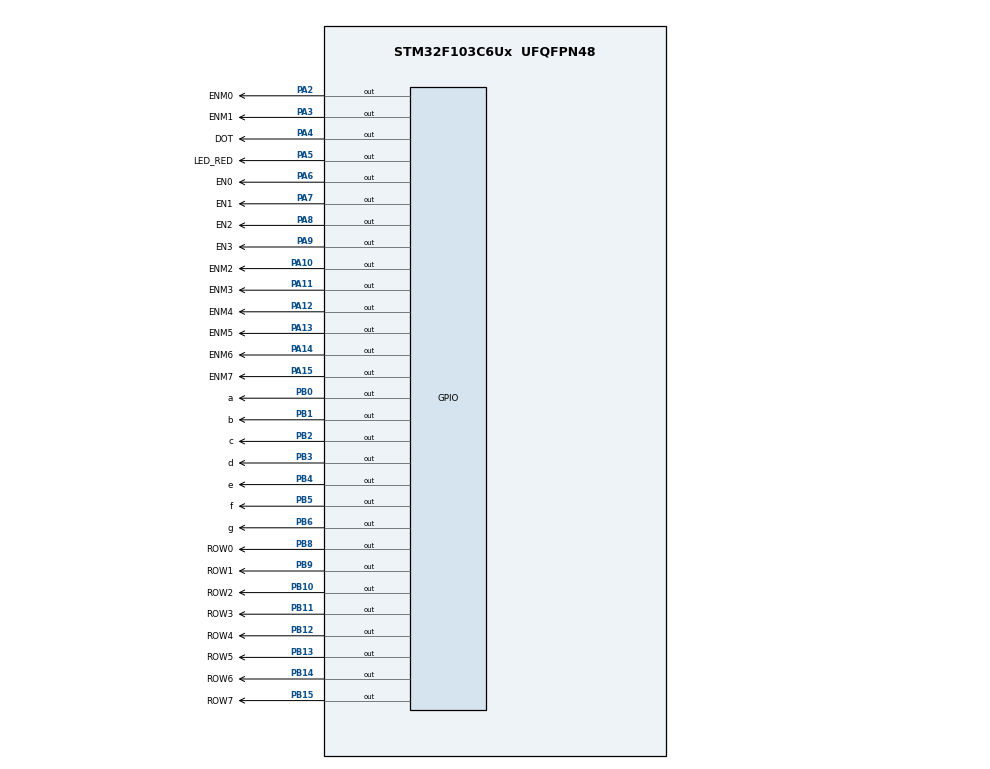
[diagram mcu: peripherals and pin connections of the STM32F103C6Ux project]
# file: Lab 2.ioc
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Mcu.Family=STM32F1
Mcu.Name=STM32F103C6Ux
Mcu.Package=UFQFPN48
NVIC.PriorityGroup=NVIC_PRIORITYGROUP_4
NVIC.TIM2_IRQn=true\:0\:0\:false\:false\:true\:true\:true
PA10.GPIO_Label=ENM2
PA10.Signal=GPIO_Output
PA11.GPIO_Label=ENM3
PA11.Signal=GPIO_Output
PA12.GPIO_Label=ENM4
PA12.Signal=GPIO_Output
PA13.GPIO_Label=ENM5
PA13.Signal=GPIO_Output
PA14.GPIO_Label=ENM6
PA14.Signal=GPIO_Output
PA15.GPIO_Label=ENM7
PA15.Signal=GPIO_Output
PA2.GPIO_Label=ENM0
PA2.Signal=GPIO_Output
PA3.GPIO_Label=ENM1
PA3.Signal=GPIO_Output
PA4.GPIO_Label=DOT
PA4.Signal=GPIO_Output
PA5.GPIO_Label=LED_RED
PA5.Signal=GPIO_Output
PA6.GPIO_Label=EN0
PA6.Signal=GPIO_Output
PA7.GPIO_Label=EN1
PA7.Signal=GPIO_Output
PA8.GPIO_Label=EN2
PA8.Signal=GPIO_Output
PA9.GPIO_Label=EN3
PA9.Signal=GPIO_Output
PB0.GPIO_Label=a
PB0.Signal=GPIO_Output
PB1.GPIO_Label=b
PB1.Signal=GPIO_Output
PB10.GPIO_Label=ROW2
PB10.Signal=GPIO_Output
PB11.GPIO_Label=ROW3
PB11.Signal=GPIO_Output
PB12.GPIO_Label=ROW4
PB12.Signal=GPIO_Output
PB13.GPIO_Label=ROW5
PB13.Signal=GPIO_Output
PB14.GPIO_Label=ROW6
PB14.Signal=GPIO_Output
PB15.GPIO_Label=ROW7
PB15.Signal=GPIO_Output
PB2.GPIO_Label=c
PB2.Signal=GPIO_Output
PB3.GPIO_Label=d
PB3.Signal=GPIO_Output
PB4.GPIO_Label=e
PB4.Signal=GPIO_Output
PB5.GPIO_Label=f
PB5.Signal=GPIO_Output
PB6.GPIO_Label=g
PB6.Signal=GPIO_Output
PB8.GPIO_Label=ROW0
PB8.Signal=GPIO_Output
PB9.GPIO_Label=ROW1
PB9.Signal=GPIO_Output
ProjectManager.HeapSize=0x200
ProjectManager.StackSize=0x400
ProjectManager.TargetToolchain=STM32CubeIDE
RCC.APB1Freq_Value=8000000
RCC.APB2Freq_Value=8000000
TIM2.Period=9
TIM2.Prescaler=7999
VP_SYS_VS_ND.Mode=No_Debug
VP_TIM2_VS_ClockSourceINT.Mode=Internal
board=custom

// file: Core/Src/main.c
/* USER CODE BEGIN Header */
/**
  ******************************************************************************
  * @file           : main.c
  * @brief          : Main program body
  ******************************************************************************
  * @attention
  *
  * <h2><center>&copy; Copyright (c) 2023 STMicroelectronics.
  * All rights reserved.</center></h2>
  *
  * This software component is licensed by ST under BSD 3-Clause license,
  * the "License"; You may not use this file except in compliance with the
  * License. You may obtain a copy of the License at:
  *                        opensource.org/licenses/BSD-3-Clause
  *
  ******************************************************************************
  */
/* USER CODE END Header */
#include "main.h"

TIM_HandleTypeDef htim2;

void SystemClock_Config(void);
static void MX_GPIO_Init(void);
static void MX_TIM2_Init(void);
void display7SEG(int num);
void update7SEG(int index);
void updateClockBuffer(int h, int m);
void updateLEDMatrix (int index );
void change_matrix_buffer();

/* USER CODE BEGIN 0 */
int timer0_counter = 0;
int timer0_flag = 0;
int timer1_counter = 0;
int timer1_flag = 0;
int timer2_counter = 0;
int timer2_flag = 0;
int timer3_counter = 0;
int timer3_flag = 0;
int TIMER_CYCLE = 10;
uint8_t matrix_buffer[8] = {0x00, 0xFC, 0xfe, 0x33, 0x33, 0xFE, 0xFC, 0x00};

//TIMER 0 for toggle LED_RED
void setTimer0( int duration )
{
	 timer0_counter = duration / TIMER_CYCLE ;
	 timer0_flag = 0;
}
void timer_run0()
{
	if( timer0_counter > 0)
	{
		 timer0_counter--;
		 if( timer0_counter == 0) timer0_flag = 1;
	}
}
/////////////////////////////
//TIMER 1 for update value of hour, minute, second and toggle DOT
void setTimer1(int duration)
{
  timer1_counter = duration / TIMER_CYCLE;
  timer1_flag = 0;
}
void timer_run1()
{
  if (timer1_counter > 0)
  {
     timer1_counter--;
     if (timer1_counter == 0)
       timer1_flag = 1;
  }
}
/////////////////////////////
//TIMER 2 for update7SEG()
void setTimer2(int duration)
{
  timer2_counter = duration / TIMER_CYCLE;
  timer2_flag = 0;
}
void timer_run2()
{
  if (timer2_counter > 0)
  {
     timer2_counter--;
     if (timer2_counter == 0)
       timer2_flag = 1;
  }
}
////////////////////////////
//TIMER 3 for updateLEDMatrix()
void setTimer3(int duration)
{
  timer3_counter = duration / TIMER_CYCLE;
  timer3_flag = 0;
}
void timer_run3()
{
  if (timer3_counter > 0)
  {
     timer3_counter--;
     if (timer3_counter == 0)
       timer3_flag = 1;
  }
}
/* USER CODE END 0 */

int main(void)
{

  /* MCU Configuration--------------------------------------------------------*/

  /* Reset of all peripherals, Initializes the Flash interface and the Systick. */
  HAL_Init();

  /* Configure the system clock */
  SystemClock_Config();

  /* USER CODE BEGIN SysInit */
  MX_GPIO_Init () ;
  MX_TIM2_Init () ;
  /* USER CODE END SysInit */

  /* Initialize all configured peripherals */
  MX_GPIO_Init();
  MX_TIM2_Init();
  /* USER CODE BEGIN 2 */
  HAL_TIM_Base_Start_IT (& htim2 );
  /* USER CODE END 2 */

  /* Infinite loop */
  /* USER CODE BEGIN WHILE */
  int hour = 15 , minute = 10 , second = 50;

  setTimer0(1000);
  setTimer1(1000);
  setTimer2(250);
  setTimer3(500);

  int index_led = 0;
  int index_led_matrix = 0;

  while (1)
  {
    /* USER CODE END WHILE */

    /* USER CODE BEGIN 3 */
    //TODO for timer0
    if (timer0_flag == 1)
     {
       HAL_GPIO_TogglePin(LED_RED_GPIO_Port, LED_RED_Pin);
       setTimer0(2000);
     }
    //TODO for timer1
    if(timer1_flag == 1)
    {
       updateClockBuffer(hour, minute);
       second++;
       if (second >= 60)
       {
         second = 0;
         minute++;
       }
       if (minute >= 60)
       {
         minute = 0;
         hour++;
       }
       if (hour >= 24)
       {
         hour = 0;
       }

       HAL_GPIO_TogglePin(DOT_GPIO_Port, DOT_Pin);

       setTimer1(1000);
    }
    //TODO for timer2
    if (timer2_flag == 1)
    {
       update7SEG(index_led++);
       if (index_led > 3)
       {
         index_led = 0;
       }
       setTimer2(250);
    }
    //TODO for timer3
    if (timer3_flag == 1)
    {

       if (index_led_matrix > 7)
       {
         change_matrix_buffer();
         index_led_matrix = 0;
       }
       updateLEDMatrix(index_led_matrix++);
       setTimer3(500);
    }
  }
  /* USER CODE END 3 */
}
int led_buffer[4] = {0, 0, 0, 0};
void updateClockBuffer(int h, int m)
{

  if (m <= 9)
  {
    led_buffer[3] = m;
    led_buffer[2] = 0;
  }
  else
  {
    led_buffer[3] = m % 10;
    led_buffer[2] = m / 10;
  }
  if (h <= 9)
  {
    led_buffer[1] = h;
    led_buffer[0] = 0;
  }
  else
  {
    led_buffer[1] = h % 10;
    led_buffer[0] = h / 10;
  }
}

const int MAX_LED_MATRIX = 8;

// uint8_t matrix_buffer [8] = {0x01 , 0x02 , 0x03 , 0x04 , 0x05 , 0x06 , 0x07 , 0x08 };

void change_matrix_buffer()
{
	int temp;
	temp = matrix_buffer[0];
	int var;
	for(uint8_t i = 0; i<8; ++i){
		var = matrix_buffer[i];
		matrix_buffer[i] = matrix_buffer[i+1];
		matrix_buffer[i + 1] = var;
	}
	matrix_buffer[7] = temp;
}
void updateLEDMatrix (int index )
{
	switch (index) {
	case 0:
		HAL_GPIO_WritePin(ENM0_GPIO_Port, ENM0_Pin, RESET);
		HAL_GPIO_WritePin(GPIOA, ENM1_Pin|ENM2_Pin|ENM3_Pin|ENM4_Pin|ENM5_Pin|ENM6_Pin|ENM7_Pin, SET);
		HAL_GPIO_WritePin(GPIOB, 0xff<<8, SET);
		HAL_GPIO_WritePin(GPIOB, matrix_buffer[index]<<8, RESET);
		break ;
	case 1:
		HAL_GPIO_WritePin(ENM1_GPIO_Port, ENM1_Pin, RESET);
		HAL_GPIO_WritePin(GPIOA, ENM0_Pin|ENM2_Pin|ENM3_Pin|ENM4_Pin|ENM5_Pin|ENM6_Pin|ENM7_Pin, SET);
		HAL_GPIO_WritePin(GPIOB, 0xff<<8, SET);
		HAL_GPIO_WritePin(GPIOB, matrix_buffer[index]<<8, RESET);
		break;
	case 2:
		HAL_GPIO_WritePin(ENM2_GPIO_Port, ENM2_Pin, RESET);
		HAL_GPIO_WritePin(GPIOA, ENM0_Pin|ENM1_Pin| ENM3_Pin|ENM4_Pin|ENM5_Pin|ENM6_Pin|ENM7_Pin, SET);
		HAL_GPIO_WritePin(GPIOB, 0xff<<8, SET);
		HAL_GPIO_WritePin(GPIOB, matrix_buffer[index]<<8, RESET);
		break;
	case 3:
		HAL_GPIO_WritePin(ENM3_GPIO_Port, ENM3_Pin, RESET);
		HAL_GPIO_WritePin(GPIOA, ENM0_Pin|ENM1_Pin|ENM2_Pin|ENM4_Pin|ENM5_Pin|ENM6_Pin|ENM7_Pin, SET);
		HAL_GPIO_WritePin(GPIOB, 0xff<<8, SET);
		HAL_GPIO_WritePin(GPIOB, matrix_buffer[index]<<8, RESET);
		break;
	case 4:
		HAL_GPIO_WritePin(ENM4_GPIO_Port, ENM4_Pin, RESET);
		HAL_GPIO_WritePin(GPIOA, ENM0_Pin|ENM1_Pin|ENM2_Pin|ENM3_Pin|ENM5_Pin|ENM6_Pin|ENM7_Pin, SET);
		HAL_GPIO_WritePin(GPIOB, 0xff<<8, SET);
		HAL_GPIO_WritePin(GPIOB, matrix_buffer[index]<<8, RESET);
		break;
	case 5:
		HAL_GPIO_WritePin(ENM5_GPIO_Port, ENM5_Pin, RESET);
		HAL_GPIO_WritePin(GPIOA, ENM0_Pin|ENM1_Pin|ENM2_Pin|ENM3_Pin|ENM4_Pin|ENM6_Pin|ENM7_Pin, SET);
		HAL_GPIO_WritePin(GPIOB, 0xff<<8, SET);
		HAL_GPIO_WritePin(GPIOB, matrix_buffer[index]<<8, RESET);
		break;
	case 6:
		HAL_GPIO_WritePin(ENM6_GPIO_Port, ENM6_Pin, RESET);
		HAL_GPIO_WritePin(GPIOA, ENM0_Pin|ENM1_Pin|ENM2_Pin|ENM3_Pin|ENM4_Pin|ENM5_Pin|ENM7_Pin, SET);
		HAL_GPIO_WritePin(GPIOB, 0xff<<8, SET);
		HAL_GPIO_WritePin(GPIOB, matrix_buffer[index]<<8, RESET);
		break;
	case 7:
		HAL_GPIO_WritePin(ENM7_GPIO_Port, ENM7_Pin, RESET);
		HAL_GPIO_WritePin(GPIOA, ENM0_Pin|ENM1_Pin|ENM2_Pin|ENM3_Pin|ENM4_Pin|ENM5_Pin|ENM6_Pin, SET);
		HAL_GPIO_WritePin(GPIOB, 0xff<<8, SET);
		HAL_GPIO_WritePin(GPIOB, matrix_buffer[index]<<8, RESET);
		break;
	default:
		break;
	}
}

void update7SEG(int index)
{
  switch (index)
  {
  case 0:
    // Display the first 7 SEG with led_buffer [0]
    HAL_GPIO_WritePin(EN0_GPIO_Port, EN0_Pin, GPIO_PIN_RESET);
    HAL_GPIO_WritePin(EN1_GPIO_Port, EN1_Pin, GPIO_PIN_SET);
    HAL_GPIO_WritePin(EN2_GPIO_Port, EN2_Pin, GPIO_PIN_SET);
    HAL_GPIO_WritePin(EN3_GPIO_Port, EN3_Pin, GPIO_PIN_SET);
    display7SEG(led_buffer[0]);
    break;
  case 1:
    // Display the second 7 SEG with led_buffer [1]
    HAL_GPIO_WritePin(EN0_GPIO_Port, EN0_Pin, GPIO_PIN_SET);
    HAL_GPIO_WritePin(EN1_GPIO_Port, EN1_Pin, GPIO_PIN_RESET);
    HAL_GPIO_WritePin(EN2_GPIO_Port, EN2_Pin, GPIO_PIN_SET);
    HAL_GPIO_WritePin(EN3_GPIO_Port, EN3_Pin, GPIO_PIN_SET);
    display7SEG(led_buffer[1]);
    break;
  case 2:
    // Display the third 7 SEG with led_buffer [2]
    HAL_GPIO_WritePin(EN0_GPIO_Port, EN0_Pin, GPIO_PIN_SET);
    HAL_GPIO_WritePin(EN1_GPIO_Port, EN1_Pin, GPIO_PIN_SET);
    HAL_GPIO_WritePin(EN2_GPIO_Port, EN2_Pin, GPIO_PIN_RESET);
    HAL_GPIO_WritePin(EN3_GPIO_Port, EN3_Pin, GPIO_PIN_SET);
    display7SEG(led_buffer[2]);
    break;
  case 3:
    // Display the forth 7 SEG with led_buffer [3]
    HAL_GPIO_WritePin(EN0_GPIO_Port, EN0_Pin, GPIO_PIN_SET);
    HAL_GPIO_WritePin(EN1_GPIO_Port, EN1_Pin, GPIO_PIN_SET);
    HAL_GPIO_WritePin(EN2_GPIO_Port, EN2_Pin, GPIO_PIN_SET);
    HAL_GPIO_WritePin(EN3_GPIO_Port, EN3_Pin, GPIO_PIN_RESET);
    display7SEG(led_buffer[3]);
    break;
  default:
    break;
  }
}

void display7SEG(int num)
{

  if (num == 1)
  {
    HAL_GPIO_WritePin(a_GPIO_Port, a_Pin, GPIO_PIN_SET);
    HAL_GPIO_WritePin(b_GPIO_Port, b_Pin, GPIO_PIN_RESET);
    HAL_GPIO_WritePin(c_GPIO_Port, c_Pin, GPIO_PIN_RESET);
    HAL_GPIO_WritePin(d_GPIO_Port, d_Pin, GPIO_PIN_SET);
    HAL_GPIO_WritePin(e_GPIO_Port, e_Pin, GPIO_PIN_SET);
    HAL_GPIO_WritePin(f_GPIO_Port, f_Pin, GPIO_PIN_SET);
    HAL_GPIO_WritePin(g_GPIO_Port, g_Pin, GPIO_PIN_SET);
  }

  else if (num == 2)
  {
    HAL_GPIO_WritePin(a_GPIO_Port, a_Pin, GPIO_PIN_RESET);
    HAL_GPIO_WritePin(b_GPIO_Port, b_Pin, GPIO_PIN_RESET);
    HAL_GPIO_WritePin(c_GPIO_Port, c_Pin, GPIO_PIN_SET);
    HAL_GPIO_WritePin(d_GPIO_Port, d_Pin, GPIO_PIN_RESET);
    HAL_GPIO_WritePin(e_GPIO_Port, e_Pin, GPIO_PIN_RESET);
    HAL_GPIO_WritePin(f_GPIO_Port, f_Pin, GPIO_PIN_SET);
    HAL_GPIO_WritePin(g_GPIO_Port, g_Pin, GPIO_PIN_RESET);
  }

  else if (num == 3)
  {
    HAL_GPIO_WritePin(a_GPIO_Port, a_Pin, GPIO_PIN_RESET);
    HAL_GPIO_WritePin(b_GPIO_Port, b_Pin, GPIO_PIN_RESET);
    HAL_GPIO_WritePin(c_GPIO_Port, c_Pin, GPIO_PIN_RESET);
    HAL_GPIO_WritePin(d_GPIO_Port, d_Pin, GPIO_PIN_RESET);
    HAL_GPIO_WritePin(e_GPIO_Port, e_Pin, GPIO_PIN_SET);
    HAL_GPIO_WritePin(f_GPIO_Port, f_Pin, GPIO_PIN_SET);
    HAL_GPIO_WritePin(g_GPIO_Port, g_Pin, GPIO_PIN_RESET);
  }

  else if (num == 4)
  {
    HAL_GPIO_WritePin(a_GPIO_Port, a_Pin, GPIO_PIN_SET);
    HAL_GPIO_WritePin(b_GPIO_Port, b_Pin, GPIO_PIN_RESET);
    HAL_GPIO_WritePin(c_GPIO_Port, c_Pin, GPIO_PIN_RESET);
    HAL_GPIO_WritePin(d_GPIO_Port, d_Pin, GPIO_PIN_SET);
    HAL_GPIO_WritePin(e_GPIO_Port, e_Pin, GPIO_PIN_SET);
    HAL_GPIO_WritePin(f_GPIO_Port, f_Pin, GPIO_PIN_RESET);
    HAL_GPIO_WritePin(g_GPIO_Port, g_Pin, GPIO_PIN_RESET);
  }

  else if (num == 5)
  {
    HAL_GPIO_WritePin(a_GPIO_Port, a_Pin, GPIO_PIN_RESET);
    HAL_GPIO_WritePin(b_GPIO_Port, b_Pin, GPIO_PIN_SET);
    HAL_GPIO_WritePin(c_GPIO_Port, c_Pin, GPIO_PIN_RESET);
    HAL_GPIO_WritePin(d_GPIO_Port, d_Pin, GPIO_PIN_RESET);
    HAL_GPIO_WritePin(e_GPIO_Port, e_Pin, GPIO_PIN_SET);
    HAL_GPIO_WritePin(f_GPIO_Port, f_Pin, GPIO_PIN_RESET);
    HAL_GPIO_WritePin(g_GPIO_Port, g_Pin, GPIO_PIN_RESET);
  }

  else if (num == 6)
  {
    HAL_GPIO_WritePin(a_GPIO_Port, a_Pin, GPIO_PIN_RESET);
    HAL_GPIO_WritePin(b_GPIO_Port, b_Pin, GPIO_PIN_SET);
    HAL_GPIO_WritePin(c_GPIO_Port, c_Pin, GPIO_PIN_RESET);
    HAL_GPIO_WritePin(d_GPIO_Port, d_Pin, GPIO_PIN_RESET);
    HAL_GPIO_WritePin(e_GPIO_Port, e_Pin, GPIO_PIN_RESET);
    HAL_GPIO_WritePin(f_GPIO_Port, f_Pin, GPIO_PIN_RESET);
    HAL_GPIO_WritePin(g_GPIO_Port, g_Pin, GPIO_PIN_RESET);
  }

  else if (num == 7)
  {
    HAL_GPIO_WritePin(a_GPIO_Port, a_Pin, GPIO_PIN_RESET);
    HAL_GPIO_WritePin(b_GPIO_Port, b_Pin, GPIO_PIN_RESET);
    HAL_GPIO_WritePin(c_GPIO_Port, c_Pin, GPIO_PIN_RESET);
    HAL_GPIO_WritePin(d_GPIO_Port, d_Pin, GPIO_PIN_SET);
    HAL_GPIO_WritePin(e_GPIO_Port, e_Pin, GPIO_PIN_SET);
    HAL_GPIO_WritePin(f_GPIO_Port, f_Pin, GPIO_PIN_SET);
    HAL_GPIO_WritePin(g_GPIO_Port, g_Pin, GPIO_PIN_SET);
  }

  else if (num == 8)
  {
    HAL_GPIO_WritePin(a_GPIO_Port, a_Pin, GPIO_PIN_RESET);
    HAL_GPIO_WritePin(b_GPIO_Port, b_Pin, GPIO_PIN_RESET);
    HAL_GPIO_WritePin(c_GPIO_Port, c_Pin, GPIO_PIN_RESET);
    HAL_GPIO_WritePin(d_GPIO_Port, d_Pin, GPIO_PIN_RESET);
    HAL_GPIO_WritePin(e_GPIO_Port, e_Pin, GPIO_PIN_RESET);
    HAL_GPIO_WritePin(f_GPIO_Port, f_Pin, GPIO_PIN_RESET);
    HAL_GPIO_WritePin(g_GPIO_Port, g_Pin, GPIO_PIN_RESET);
  }

  else if (num == 9)
  {
    HAL_GPIO_WritePin(a_GPIO_Port, a_Pin, GPIO_PIN_RESET);
    HAL_GPIO_WritePin(b_GPIO_Port, b_Pin, GPIO_PIN_RESET);
    HAL_GPIO_WritePin(c_GPIO_Port, c_Pin, GPIO_PIN_RESET);
    HAL_GPIO_WritePin(d_GPIO_Port, d_Pin, GPIO_PIN_RESET);
    HAL_GPIO_WritePin(e_GPIO_Port, e_Pin, GPIO_PIN_SET);
    HAL_GPIO_WritePin(f_GPIO_Port, f_Pin, GPIO_PIN_RESET);
    HAL_GPIO_WritePin(g_GPIO_Port, g_Pin, GPIO_PIN_RESET);
  }
  else if (num == 0)
  {
    HAL_GPIO_WritePin(a_GPIO_Port, a_Pin, GPIO_PIN_RESET);
    HAL_GPIO_WritePin(b_GPIO_Port, b_Pin, GPIO_PIN_RESET);
    HAL_GPIO_WritePin(c_GPIO_Port, c_Pin, GPIO_PIN_RESET);
    HAL_GPIO_WritePin(d_GPIO_Port, d_Pin, GPIO_PIN_RESET);
    HAL_GPIO_WritePin(e_GPIO_Port, e_Pin, GPIO_PIN_RESET);
    HAL_GPIO_WritePin(f_GPIO_Port, f_Pin, GPIO_PIN_RESET);
    HAL_GPIO_WritePin(g_GPIO_Port, g_Pin, GPIO_PIN_SET);
  }
}

void SystemClock_Config(void)
{
  RCC_OscInitTypeDef RCC_OscInitStruct = {0};
  RCC_ClkInitTypeDef RCC_ClkInitStruct = {0};

  /** Initializes the RCC Oscillators according to the specified parameters
  * in the RCC_OscInitTypeDef structure.
  */
  RCC_OscInitStruct.OscillatorType = RCC_OSCILLATORTYPE_HSI;
  RCC_OscInitStruct.HSIState = RCC_HSI_ON;
  RCC_OscInitStruct.HSICalibrationValue = RCC_HSICALIBRATION_DEFAULT;
  RCC_OscInitStruct.PLL.PLLState = RCC_PLL_NONE;
  if (HAL_RCC_OscConfig(&RCC_OscInitStruct) != HAL_OK)
  {
    Error_Handler();
  }
  /** Initializes the CPU, AHB and APB buses clocks
  */
  RCC_ClkInitStruct.ClockType = RCC_CLOCKTYPE_HCLK|RCC_CLOCKTYPE_SYSCLK
                              |RCC_CLOCKTYPE_PCLK1|RCC_CLOCKTYPE_PCLK2;
  RCC_ClkInitStruct.SYSCLKSource = RCC_SYSCLKSOURCE_HSI;
  RCC_ClkInitStruct.AHBCLKDivider = RCC_SYSCLK_DIV1;
  RCC_ClkInitStruct.APB1CLKDivider = RCC_HCLK_DIV1;
  RCC_ClkInitStruct.APB2CLKDivider = RCC_HCLK_DIV1;

  if (HAL_RCC_ClockConfig(&RCC_ClkInitStruct, FLASH_LATENCY_0) != HAL_OK)
  {
    Error_Handler();
  }
}

static void MX_TIM2_Init(void)
{

  TIM_ClockConfigTypeDef sClockSourceConfig = {0};
  TIM_MasterConfigTypeDef sMasterConfig = {0};

  htim2.Instance = TIM2;
  htim2.Init.Prescaler = 7999;
  htim2.Init.CounterMode = TIM_COUNTERMODE_UP;
  htim2.Init.Period = 9;
  htim2.Init.ClockDivision = TIM_CLOCKDIVISION_DIV1;
  htim2.Init.AutoReloadPreload = TIM_AUTORELOAD_PRELOAD_DISABLE;
  if (HAL_TIM_Base_Init(&htim2) != HAL_OK)
  {
    Error_Handler();
  }
  sClockSourceConfig.ClockSource = TIM_CLOCKSOURCE_INTERNAL;
  if (HAL_TIM_ConfigClockSource(&htim2, &sClockSourceConfig) != HAL_OK)
  {
    Error_Handler();
  }
  sMasterConfig.MasterOutputTrigger = TIM_TRGO_RESET;
  sMasterConfig.MasterSlaveMode = TIM_MASTERSLAVEMODE_DISABLE;
  if (HAL_TIMEx_MasterConfigSynchronization(&htim2, &sMasterConfig) != HAL_OK)
  {
    Error_Handler();
  }

}

static void MX_GPIO_Init(void)
{
  GPIO_InitTypeDef GPIO_InitStruct = {0};

  /* GPIO Ports Clock Enable */
  __HAL_RCC_GPIOA_CLK_ENABLE();
  __HAL_RCC_GPIOB_CLK_ENABLE();

  /*Configure GPIO pin Output Level */
  HAL_GPIO_WritePin(GPIOA, DOT_Pin|LED_RED_Pin|EN0_Pin|EN1_Pin
                          |EN2_Pin|EN3_Pin|ENM0_Pin|ENM1_Pin
						  |ENM2_Pin|ENM3_Pin|ENM4_Pin|ENM5_Pin
						  |ENM6_Pin|ENM7_Pin, GPIO_PIN_RESET);

  /*Configure GPIO pin Output Level */
  HAL_GPIO_WritePin(GPIOB, a_Pin|b_Pin|c_Pin|d_Pin
                          |e_Pin|f_Pin|g_Pin|ROW0_Pin|ROW1_Pin
						  |ROW2_Pin|ROW3_Pin|ROW4_Pin|ROW5_Pin
						  |ROW6_Pin|ROW7_Pin, GPIO_PIN_RESET);

  /*Configure GPIO pins : DOT_Pin LED_RED_Pin EN0_Pin EN1_Pin
                           EN2_Pin EN3_Pin */
  GPIO_InitStruct.Pin = DOT_Pin|LED_RED_Pin|EN0_Pin|EN1_Pin
          	  	  	  |EN2_Pin|EN3_Pin|ENM0_Pin|ENM1_Pin
					  |ENM2_Pin|ENM3_Pin|ENM4_Pin|ENM5_Pin
					  |ENM6_Pin|ENM7_Pin;
  GPIO_InitStruct.Mode = GPIO_MODE_OUTPUT_PP;
  GPIO_InitStruct.Pull = GPIO_NOPULL;
  GPIO_InitStruct.Speed = GPIO_SPEED_FREQ_LOW;
  HAL_GPIO_Init(GPIOA, &GPIO_InitStruct);

  /*Configure GPIO pins : a_Pin b_Pin c_Pin d_Pin
                           e_Pin f_Pin g_Pin */
  GPIO_InitStruct.Pin = a_Pin|b_Pin|c_Pin|d_Pin
          	  	  	  |e_Pin|f_Pin|g_Pin|ROW0_Pin|ROW1_Pin
					  |ROW2_Pin|ROW3_Pin|ROW4_Pin|ROW5_Pin
					  |ROW6_Pin|ROW7_Pin;
  GPIO_InitStruct.Mode = GPIO_MODE_OUTPUT_PP;
  GPIO_InitStruct.Pull = GPIO_NOPULL;
  GPIO_InitStruct.Speed = GPIO_SPEED_FREQ_LOW;
  HAL_GPIO_Init(GPIOB, &GPIO_InitStruct);

}

/* USER CODE BEGIN 4 */

void HAL_TIM_PeriodElapsedCallback(TIM_HandleTypeDef *htim)
{
  timer_run0();
  timer_run1();
  timer_run2();
  timer_run3();
}

/* USER CODE END 4 */

void Error_Handler(void)
{
  __disable_irq();
  while (1)
  {
  }
}

/************************ (C) COPYRIGHT STMicroelectronics *****END OF FILE****/
